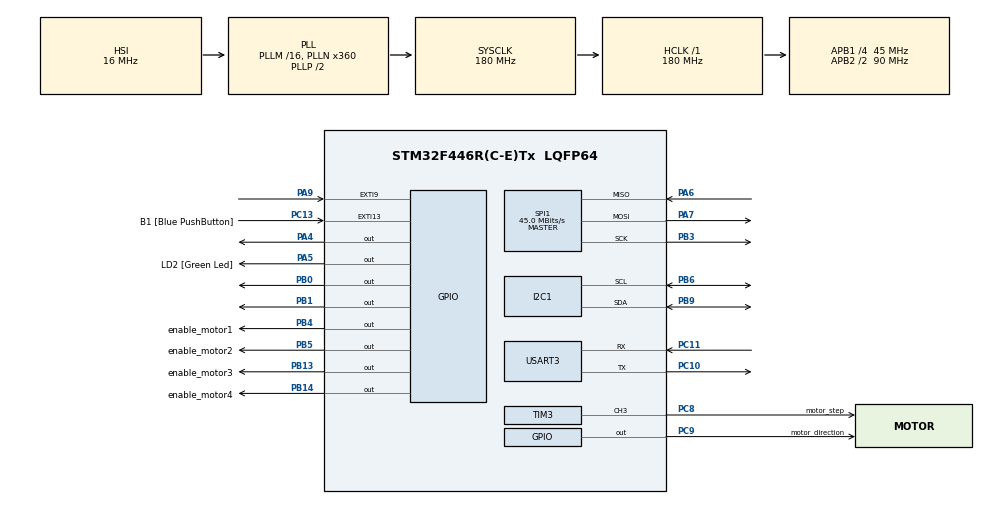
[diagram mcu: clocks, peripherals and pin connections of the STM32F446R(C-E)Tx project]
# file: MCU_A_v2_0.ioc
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FREERTOS.Tasks01=LCDTask,24,128,StartLCDTask,Default,NULL,Dynamic,NULL,NULL;KEYPADTask,8,128,StartKEYPADTask,Default,NULL,Dynamic,NULL,NULL;UARTTask,8,128,StartUARTTask,Default,NULL,Dynamic,NULL,NULL;HEARTBEATTask,8,128,StartHEARTBEATTask,Default,NULL,Dynamic,NULL,NULL;SMTask,8,256,StartSMTask,Default,NULL,Dynamic,NULL,NULL
Mcu.Family=STM32F4
Mcu.Name=STM32F446R(C-E)Tx
Mcu.Package=LQFP64
NVIC.EXTI15_10_IRQn=true\:5\:0\:false\:false\:true\:true\:true\:true\:true
NVIC.EXTI9_5_IRQn=true\:5\:0\:false\:false\:true\:true\:true\:true\:true
NVIC.PriorityGroup=NVIC_PRIORITYGROUP_4
NVIC.TIM6_DAC_IRQn=true\:15\:0\:false\:false\:true\:false\:false\:true\:true
NVIC.TimeBase=TIM6_DAC_IRQn
NVIC.TimeBaseIP=TIM6
NVIC.USART3_IRQn=true\:5\:0\:false\:false\:true\:true\:true\:true\:true
PA13.GPIO_Label=TMS
PA13.Signal=SYS_JTMS-SWDIO
PA14.GPIO_Label=TCK
PA14.Signal=SYS_JTCK-SWCLK
PA2.GPIO_Label=USART_TX
PA2.Signal=USART2_TX
PA3.GPIO_Label=USART_RX
PA3.Signal=USART2_RX
PA4.Signal=GPIO_Output
PA5.GPIO_Label=LD2 [Green Led]
PA5.Signal=GPIO_Output
PA6.Mode=Full_Duplex_Master
PA6.Signal=SPI1_MISO
PA7.Mode=Full_Duplex_Master
PA7.Signal=SPI1_MOSI
PA9.GPIO_ModeDefaultEXTI=GPIO_MODE_IT_FALLING
PA9.Signal=GPXTI9
PB0.Signal=GPIO_Output
PB1.Signal=GPIO_Output
PB13.GPIO_Label=enable_motor3
PB13.PinState=GPIO_PIN_SET
PB13.Signal=GPIO_Output
PB14.GPIO_Label=enable_motor4
PB14.PinState=GPIO_PIN_SET
PB14.Signal=GPIO_Output
PB3.Mode=Full_Duplex_Master
PB3.Signal=SPI1_SCK
PB4.GPIO_Label=enable_motor1
PB4.PinState=GPIO_PIN_SET
PB4.Signal=GPIO_Output
PB5.GPIO_Label=enable_motor2
PB5.PinState=GPIO_PIN_SET
PB5.Signal=GPIO_Output
PB6.Mode=I2C
PB6.Signal=I2C1_SCL
PB9.Mode=I2C
PB9.Signal=I2C1_SDA
PC10.Mode=Asynchronous
PC10.Signal=USART3_TX
PC11.Mode=Asynchronous
PC11.Signal=USART3_RX
PC13.GPIO_Label=B1 [Blue PushButton]
PC13.GPIO_ModeDefaultEXTI=GPIO_MODE_IT_FALLING
PC13.Signal=GPXTI13
PC14-OSC32_IN.Signal=RCC_OSC32_IN
PC15-OSC32_OUT.Signal=RCC_OSC32_OUT
PC8.GPIO_Label=motor_step
PC8.Signal=S_TIM3_CH3
PC9.GPIO_Label=motor_direction
PC9.Signal=GPIO_Output
PH0-OSC_IN.Signal=RCC_OSC_IN
PH1-OSC_OUT.Signal=RCC_OSC_OUT
ProjectManager.HeapSize=0x200
ProjectManager.StackSize=0x400
ProjectManager.TargetToolchain=STM32CubeIDE
RCC.AHBFreq_Value=180000000
RCC.APB1CLKDivider=RCC_HCLK_DIV4
RCC.APB1Freq_Value=45000000
RCC.APB1TimFreq_Value=90000000
RCC.APB2CLKDivider=RCC_HCLK_DIV2
RCC.APB2Freq_Value=90000000
RCC.APB2TimFreq_Value=180000000
RCC.CortexFreq_Value=180000000
RCC.FLatency-AdvancedSettings=FLASH_LATENCY_5
RCC.HCLKFreq_Value=180000000
RCC.HSE_VALUE=8000000
RCC.HSI_VALUE=16000000
RCC.LSE_VALUE=32768
RCC.PLLN=360
RCC.SYSCLKFreq_VALUE=180000000
RCC.SYSCLKSource=RCC_SYSCLKSOURCE_PLLCLK
RCC.USBFreq_Value=180000000
RCC.VCOOutputFreq_Value=360000000
SH.S_TIM3_CH3.0=TIM3_CH3,PWM Generation3 CH3
SPI1.CalculateBaudRate=45.0 MBits/s
SPI1.Direction=SPI_DIRECTION_2LINES
SPI1.Mode=SPI_MODE_MASTER
SPI1.VirtualType=VM_MASTER
TIM3.Channel-PWM\ Generation3\ CH3=TIM_CHANNEL_3
TIM3.OC3Preload_PWM=ENABLE
TIM3.OCMode_PWM-PWM\ Generation3\ CH3=TIM_OCMODE_PWM1
TIM3.Period=9999
TIM3.Prescaler=44
TIM3.Pulse-PWM\ Generation3\ CH3=1000
USART3.VirtualMode=VM_ASYNC
VP_FREERTOS_VS_CMSIS_V2.Mode=CMSIS_V2
VP_MBEDTLS_VS_MBEDTLS.Mode=Enabled
VP_SYS_VS_tim6.Mode=TIM6
board=NUCLEO-F446RE

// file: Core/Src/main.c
/* USER CODE BEGIN Header */
/**
  ******************************************************************************
  * @file           : main.c
  * @brief          : Main program body
  ******************************************************************************
  * @attention
  *
  * Copyright (c) 2026 STMicroelectronics.
  * All rights reserved.
  *
  * This software is licensed under terms that can be found in the LICENSE file
  * in the root directory of this software component.
  * If no LICENSE file comes with this software, it is provided AS-IS.
  *
  ******************************************************************************
  */
/* USER CODE END Header */
#include "main.h"
#include "cmsis_os.h"
#include "mbedtls.h"

/* USER CODE BEGIN Includes */
#include "lcd.h"
#include "keypad.h"
#include "motors.h"
#include "sender.h"
#include "receiver.h"
#include "statemachine.h"

/* USER CODE END Includes */

I2C_HandleTypeDef hi2c1;

SPI_HandleTypeDef hspi1;

TIM_HandleTypeDef htim3;

UART_HandleTypeDef huart3;

/* Definitions for LCDTask */
osThreadId_t LCDTaskHandle;
const osThreadAttr_t LCDTask_attributes = {
  .name = "LCDTask",
  .stack_size = 128 * 4,
  .priority = (osPriority_t) osPriorityNormal,
};
/* Definitions for KEYPADTask */
osThreadId_t KEYPADTaskHandle;
const osThreadAttr_t KEYPADTask_attributes = {
  .name = "KEYPADTask",
  .stack_size = 128 * 4,
  .priority = (osPriority_t) osPriorityLow,
};
/* Definitions for UARTTask */
osThreadId_t UARTTaskHandle;
const osThreadAttr_t UARTTask_attributes = {
  .name = "UARTTask",
  .stack_size = 128 * 4,
  .priority = (osPriority_t) osPriorityLow,
};
/* Definitions for HEARTBEATTask */
osThreadId_t HEARTBEATTaskHandle;
const osThreadAttr_t HEARTBEATTask_attributes = {
  .name = "HEARTBEATTask",
  .stack_size = 128 * 4,
  .priority = (osPriority_t) osPriorityLow,
};
/* Definitions for SMTask */
osThreadId_t SMTaskHandle;
const osThreadAttr_t SMTask_attributes = {
  .name = "SMTask",
  .stack_size = 256 * 4,
  .priority = (osPriority_t) osPriorityLow,
};

void SystemClock_Config(void);
static void MX_GPIO_Init(void);
static void MX_I2C1_Init(void);
static void MX_SPI1_Init(void);
static void MX_USART3_UART_Init(void);
static void MX_TIM3_Init(void);
void StartLCDTask(void *argument);
void StartKEYPADTask(void *argument);
void StartUARTTask(void *argument);
void StartHEARTBEATTask(void *argument);
void StartSMTask(void *argument);

int main(void)
{

  /* MCU Configuration--------------------------------------------------------*/

  /* Reset of all peripherals, Initializes the Flash interface and the Systick. */
  HAL_Init();

  /* Configure the system clock */
  SystemClock_Config();

  /* Initialize all configured peripherals */
  MX_GPIO_Init();
  MX_I2C1_Init();
  MX_SPI1_Init();
  MX_USART3_UART_Init();
  MX_TIM3_Init();
  /* Call PreOsInit function */
  MX_MBEDTLS_Init();
  /* USER CODE BEGIN 2 */
  Receiver_StartHardwareListening();

  /* USER CODE END 2 */

  /* Init scheduler */
  osKernelInitialize();

  /* USER CODE BEGIN RTOS_MUTEX */
  LCD_Init();
  KEYPAD_Init();
  UART_Init();
  /* USER CODE END RTOS_MUTEX */

  /* Create the thread(s) */
  /* creation of LCDTask */
  LCDTaskHandle = osThreadNew(StartLCDTask, NULL, &LCDTask_attributes);

  /* creation of KEYPADTask */
  KEYPADTaskHandle = osThreadNew(StartKEYPADTask, NULL, &KEYPADTask_attributes);

  /* creation of UARTTask */
  UARTTaskHandle = osThreadNew(StartUARTTask, NULL, &UARTTask_attributes);

  /* creation of HEARTBEATTask */
  HEARTBEATTaskHandle = osThreadNew(StartHEARTBEATTask, NULL, &HEARTBEATTask_attributes);

  /* creation of SMTask */
  SMTaskHandle = osThreadNew(StartSMTask, NULL, &SMTask_attributes);

  /* Start scheduler */
  osKernelStart();

  /* We should never get here as control is now taken by the scheduler */

  /* Infinite loop */
  while (1)
  {
    /* USER CODE BEGIN 3 */
    osDelay(5000);

  }
  /* USER CODE END 3 */
}

void SystemClock_Config(void)
{
  RCC_OscInitTypeDef RCC_OscInitStruct = {0};
  RCC_ClkInitTypeDef RCC_ClkInitStruct = {0};

  /** Configure the main internal regulator output voltage
  */
  __HAL_RCC_PWR_CLK_ENABLE();
  __HAL_PWR_VOLTAGESCALING_CONFIG(PWR_REGULATOR_VOLTAGE_SCALE1);

  /** Initializes the RCC Oscillators according to the specified parameters
  * in the RCC_OscInitTypeDef structure.
  */
  RCC_OscInitStruct.OscillatorType = RCC_OSCILLATORTYPE_HSI;
  RCC_OscInitStruct.HSIState = RCC_HSI_ON;
  RCC_OscInitStruct.HSICalibrationValue = RCC_HSICALIBRATION_DEFAULT;
  RCC_OscInitStruct.PLL.PLLState = RCC_PLL_ON;
  RCC_OscInitStruct.PLL.PLLSource = RCC_PLLSOURCE_HSI;
  RCC_OscInitStruct.PLL.PLLM = 16;
  RCC_OscInitStruct.PLL.PLLN = 360;
  RCC_OscInitStruct.PLL.PLLP = RCC_PLLP_DIV2;
  RCC_OscInitStruct.PLL.PLLQ = 2;
  RCC_OscInitStruct.PLL.PLLR = 2;
  if (HAL_RCC_OscConfig(&RCC_OscInitStruct) != HAL_OK)
  {
    Error_Handler();
  }

  /** Activate the Over-Drive mode
  */
  if (HAL_PWREx_EnableOverDrive() != HAL_OK)
  {
    Error_Handler();
  }

  /** Initializes the CPU, AHB and APB buses clocks
  */
  RCC_ClkInitStruct.ClockType = RCC_CLOCKTYPE_HCLK|RCC_CLOCKTYPE_SYSCLK
                              |RCC_CLOCKTYPE_PCLK1|RCC_CLOCKTYPE_PCLK2;
  RCC_ClkInitStruct.SYSCLKSource = RCC_SYSCLKSOURCE_PLLCLK;
  RCC_ClkInitStruct.AHBCLKDivider = RCC_SYSCLK_DIV1;
  RCC_ClkInitStruct.APB1CLKDivider = RCC_HCLK_DIV4;
  RCC_ClkInitStruct.APB2CLKDivider = RCC_HCLK_DIV2;

  if (HAL_RCC_ClockConfig(&RCC_ClkInitStruct, FLASH_LATENCY_5) != HAL_OK)
  {
    Error_Handler();
  }
}

static void MX_I2C1_Init(void)
{

  hi2c1.Instance = I2C1;
  hi2c1.Init.ClockSpeed = 100000;
  hi2c1.Init.DutyCycle = I2C_DUTYCYCLE_2;
  hi2c1.Init.OwnAddress1 = 0;
  hi2c1.Init.AddressingMode = I2C_ADDRESSINGMODE_7BIT;
  hi2c1.Init.DualAddressMode = I2C_DUALADDRESS_DISABLE;
  hi2c1.Init.OwnAddress2 = 0;
  hi2c1.Init.GeneralCallMode = I2C_GENERALCALL_DISABLE;
  hi2c1.Init.NoStretchMode = I2C_NOSTRETCH_DISABLE;
  if (HAL_I2C_Init(&hi2c1) != HAL_OK)
  {
    Error_Handler();
  }

}

static void MX_SPI1_Init(void)
{

  /* SPI1 parameter configuration*/
  hspi1.Instance = SPI1;
  hspi1.Init.Mode = SPI_MODE_MASTER;
  hspi1.Init.Direction = SPI_DIRECTION_2LINES;
  hspi1.Init.DataSize = SPI_DATASIZE_8BIT;
  hspi1.Init.CLKPolarity = SPI_POLARITY_LOW;
  hspi1.Init.CLKPhase = SPI_PHASE_1EDGE;
  hspi1.Init.NSS = SPI_NSS_SOFT;
  hspi1.Init.BaudRatePrescaler = SPI_BAUDRATEPRESCALER_2;
  hspi1.Init.FirstBit = SPI_FIRSTBIT_MSB;
  hspi1.Init.TIMode = SPI_TIMODE_DISABLE;
  hspi1.Init.CRCCalculation = SPI_CRCCALCULATION_DISABLE;
  hspi1.Init.CRCPolynomial = 10;
  if (HAL_SPI_Init(&hspi1) != HAL_OK)
  {
    Error_Handler();
  }

}

static void MX_TIM3_Init(void)
{

  TIM_MasterConfigTypeDef sMasterConfig = {0};
  TIM_OC_InitTypeDef sConfigOC = {0};

  htim3.Instance = TIM3;
  htim3.Init.Prescaler = 44;
  htim3.Init.CounterMode = TIM_COUNTERMODE_UP;
  htim3.Init.Period = 9999;
  htim3.Init.ClockDivision = TIM_CLOCKDIVISION_DIV1;
  htim3.Init.AutoReloadPreload = TIM_AUTORELOAD_PRELOAD_DISABLE;
  if (HAL_TIM_PWM_Init(&htim3) != HAL_OK)
  {
    Error_Handler();
  }
  sMasterConfig.MasterOutputTrigger = TIM_TRGO_RESET;
  sMasterConfig.MasterSlaveMode = TIM_MASTERSLAVEMODE_DISABLE;
  if (HAL_TIMEx_MasterConfigSynchronization(&htim3, &sMasterConfig) != HAL_OK)
  {
    Error_Handler();
  }
  sConfigOC.OCMode = TIM_OCMODE_PWM1;
  sConfigOC.Pulse = 1000;
  sConfigOC.OCPolarity = TIM_OCPOLARITY_HIGH;
  sConfigOC.OCFastMode = TIM_OCFAST_DISABLE;
  if (HAL_TIM_PWM_ConfigChannel(&htim3, &sConfigOC, TIM_CHANNEL_3) != HAL_OK)
  {
    Error_Handler();
  }
  HAL_TIM_MspPostInit(&htim3);

}

static void MX_USART3_UART_Init(void)
{

  huart3.Instance = USART3;
  huart3.Init.BaudRate = 115200;
  huart3.Init.WordLength = UART_WORDLENGTH_8B;
  huart3.Init.StopBits = UART_STOPBITS_1;
  huart3.Init.Parity = UART_PARITY_NONE;
  huart3.Init.Mode = UART_MODE_TX_RX;
  huart3.Init.HwFlowCtl = UART_HWCONTROL_NONE;
  huart3.Init.OverSampling = UART_OVERSAMPLING_16;
  if (HAL_UART_Init(&huart3) != HAL_OK)
  {
    Error_Handler();
  }

}

static void MX_GPIO_Init(void)
{
  GPIO_InitTypeDef GPIO_InitStruct = {0};

  /* GPIO Ports Clock Enable */
  __HAL_RCC_GPIOC_CLK_ENABLE();
  __HAL_RCC_GPIOH_CLK_ENABLE();
  __HAL_RCC_GPIOA_CLK_ENABLE();
  __HAL_RCC_GPIOB_CLK_ENABLE();

  /*Configure GPIO pin Output Level */
  HAL_GPIO_WritePin(GPIOA, GPIO_PIN_4|LD2_Pin, GPIO_PIN_RESET);

  /*Configure GPIO pin Output Level */
  HAL_GPIO_WritePin(GPIOB, GPIO_PIN_0|GPIO_PIN_1, GPIO_PIN_RESET);

  /*Configure GPIO pin Output Level */
  HAL_GPIO_WritePin(GPIOB, enable_motor3_Pin|enable_motor4_Pin|enable_motor1_Pin|enable_motor2_Pin, GPIO_PIN_SET);

  /*Configure GPIO pin Output Level */
  HAL_GPIO_WritePin(motor_direction_GPIO_Port, motor_direction_Pin, GPIO_PIN_RESET);

  /*Configure GPIO pin : B1_Pin */
  GPIO_InitStruct.Pin = B1_Pin;
  GPIO_InitStruct.Mode = GPIO_MODE_IT_FALLING;
  GPIO_InitStruct.Pull = GPIO_NOPULL;
  HAL_GPIO_Init(B1_GPIO_Port, &GPIO_InitStruct);

  /*Configure GPIO pins : USART_TX_Pin USART_RX_Pin */
  GPIO_InitStruct.Pin = USART_TX_Pin|USART_RX_Pin;
  GPIO_InitStruct.Mode = GPIO_MODE_AF_PP;
  GPIO_InitStruct.Pull = GPIO_NOPULL;
  GPIO_InitStruct.Speed = GPIO_SPEED_FREQ_VERY_HIGH;
  GPIO_InitStruct.Alternate = GPIO_AF7_USART2;
  HAL_GPIO_Init(GPIOA, &GPIO_InitStruct);

  /*Configure GPIO pins : PA4 LD2_Pin */
  GPIO_InitStruct.Pin = GPIO_PIN_4|LD2_Pin;
  GPIO_InitStruct.Mode = GPIO_MODE_OUTPUT_PP;
  GPIO_InitStruct.Pull = GPIO_NOPULL;
  GPIO_InitStruct.Speed = GPIO_SPEED_FREQ_LOW;
  HAL_GPIO_Init(GPIOA, &GPIO_InitStruct);

  /*Configure GPIO pins : PB0 PB1 enable_motor3_Pin enable_motor4_Pin
                           enable_motor1_Pin enable_motor2_Pin */
  GPIO_InitStruct.Pin = GPIO_PIN_0|GPIO_PIN_1|enable_motor3_Pin|enable_motor4_Pin
                          |enable_motor1_Pin|enable_motor2_Pin;
  GPIO_InitStruct.Mode = GPIO_MODE_OUTPUT_PP;
  GPIO_InitStruct.Pull = GPIO_NOPULL;
  GPIO_InitStruct.Speed = GPIO_SPEED_FREQ_LOW;
  HAL_GPIO_Init(GPIOB, &GPIO_InitStruct);

  /*Configure GPIO pin : motor_direction_Pin */
  GPIO_InitStruct.Pin = motor_direction_Pin;
  GPIO_InitStruct.Mode = GPIO_MODE_OUTPUT_PP;
  GPIO_InitStruct.Pull = GPIO_NOPULL;
  GPIO_InitStruct.Speed = GPIO_SPEED_FREQ_LOW;
  HAL_GPIO_Init(motor_direction_GPIO_Port, &GPIO_InitStruct);

  /*Configure GPIO pin : PA9 */
  GPIO_InitStruct.Pin = GPIO_PIN_9;
  GPIO_InitStruct.Mode = GPIO_MODE_IT_FALLING;
  GPIO_InitStruct.Pull = GPIO_NOPULL;
  HAL_GPIO_Init(GPIOA, &GPIO_InitStruct);

  /* EXTI interrupt init*/
  HAL_NVIC_SetPriority(EXTI9_5_IRQn, 5, 0);
  HAL_NVIC_EnableIRQ(EXTI9_5_IRQn);

  HAL_NVIC_SetPriority(EXTI15_10_IRQn, 5, 0);
  HAL_NVIC_EnableIRQ(EXTI15_10_IRQn);

}

/* USER CODE BEGIN 4 */
void HAL_GPIO_EXTI_Callback(uint16_t GPIO_Pin)
{
  KEYPAD_IrqFromIsr();
}
/* USER CODE END 4 */

void StartLCDTask(void *argument)
{
  /* USER CODE BEGIN 5 */
  /* Infinite loop */
  for(;;)
  {
    LCD_Render();
    osDelay(1);
  }
  /* USER CODE END 5 */
}

void StartKEYPADTask(void *argument)
{
  /* USER CODE BEGIN StartKEYPADTask */
  /* Infinite loop */
  for(;;)
  {
    KEYPAD_ReadAnyPresses();
    osDelay(1);
  }
  /* USER CODE END StartKEYPADTask */
}

void StartUARTTask(void *argument)
{
  /* USER CODE BEGIN StartUARTTask */
  for(;;)
  {
    Receiver_Process();
  }
  /* USER CODE END StartUARTTask */
}

void StartHEARTBEATTask(void *argument)
{
  /* USER CODE BEGIN StartHEARTBEATTask */
  uint8_t val = 0;

  for(;;)
  {
    val++;
	  HAL_GPIO_TogglePin(GPIOA, GPIO_PIN_5); // Toggle Blue LED
    LCD_BeginFrame();
    if(val % 2 == 0)
    {
      LCD_FillRect(470, 0, 10, 10, 0, 39, 76);
    }
    else
    {
      LCD_FillRect(470, 0, 10, 10, 0, 255, 0);
    }
    LCD_EndFrame();
	  osDelay(1000);                          // DO NOT use HAL_Delay() here
  }
  /* USER CODE END StartHEARTBEATTask */
}

void StartSMTask(void *argument)
{
  /* USER CODE BEGIN StartSMTask */
  /* Infinite loop */
  for(;;)
  {
    SM_Run();
  }
  /* USER CODE END StartSMTask */
}

void HAL_TIM_PeriodElapsedCallback(TIM_HandleTypeDef *htim)
{
  if (htim->Instance == TIM6)
  {
    HAL_IncTick();
  }
}

void Error_Handler(void)
{
  __disable_irq();
  while (1)
  {
  }
}
